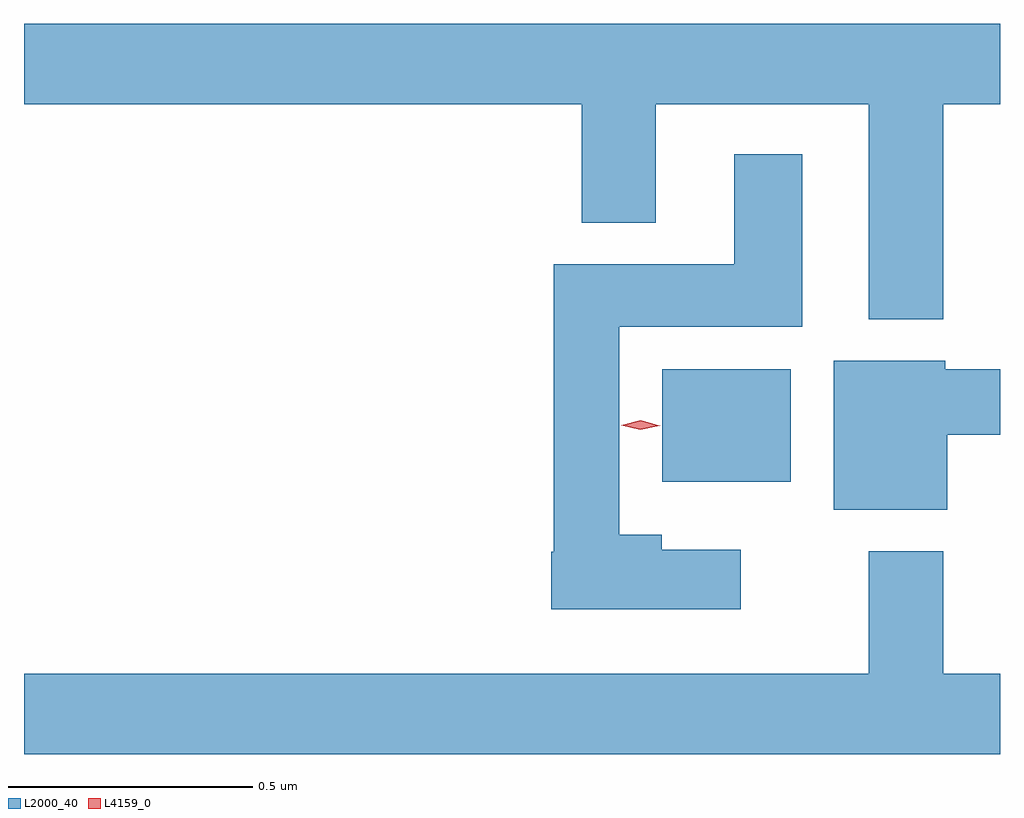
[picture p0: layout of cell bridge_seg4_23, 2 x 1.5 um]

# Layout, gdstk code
import gdstk
lib = gdstk.Library(unit=1e-6, precision=1e-09)
def R(c, l, rs):  # rectangles x0, y0, x1, y1
    for r in rs: c.add(gdstk.rectangle(r[:2], r[2:], *l))
def P(c, l, *ps):  # polygons
    for p in ps: c.add(gdstk.Polygon(p, *l))
L2000_40 = (2000, 40)
L4159_0 = (4159, 0)

bridge_seg4_23 = lib.new_cell('bridge_seg4_23')
R(bridge_seg4_23, L2000_40, [(1010.282,766.742,1010.545,766.972)])
P(bridge_seg4_23, L2000_40, [(1010.858,767.516),(1010.974,767.516),(1010.974,767.68),(1008.974,767.68),(1008.974,767.516),(1010.117,767.516),(1010.117,767.273),(1010.269,767.273),(1010.269,767.516),(1010.705,767.516),(1010.705,767.075),(1010.858,767.075)],
  [(1010.443,766.603),(1010.281,766.603),(1010.281,766.633),(1010.194,766.633),(1010.194,767.06),(1010.569,767.06),(1010.569,767.413),(1010.429,767.413),(1010.429,767.188),(1010.06,767.188),(1010.06,766.599),(1010.054,766.599),(1010.054,766.481),(1010.443,766.481)],
  [(1010.866,766.838),(1010.974,766.838),(1010.974,766.972),(1010.862,766.972),(1010.862,766.99),(1010.633,766.99),(1010.633,766.685),(1010.866,766.685)],
  [(1010.974,766.348),(1010.858,766.348),(1010.858,766.6),(1010.705,766.6),(1010.705,766.348),(1008.974,766.348),(1008.974,766.184),(1010.974,766.184)])
P(bridge_seg4_23, L4159_0, [(1010.237,766.848),(1010.198,766.858),(1010.197,766.858),(1010.198,766.858),(1010.238,766.868),(1010.277,766.857),(1010.278,766.857),(1010.277,766.857)])

lib.write_gds('bridge_seg4_23.gds')
